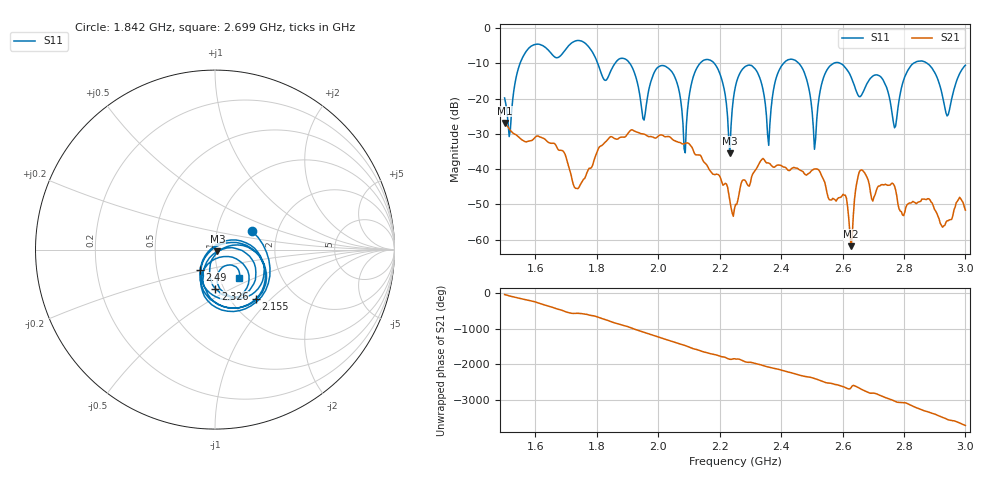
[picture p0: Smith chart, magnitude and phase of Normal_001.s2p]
# HZ S RI R 50
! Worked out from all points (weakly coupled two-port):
!   404 points, 1.5 GHz to 3 GHz, reference 50 ohm
!   highest |S21| = -26.90 dB at 1.5 GHz (marker M1); lowest = -61.9 dB at 2.628 GHz (marker M2)
!   lowest |S11| = -35.6 dB at 2.233 GHz (marker M3), VSWR 1.03, Z = 51.4 - j0.954 ohm
!   |S11| at or under -10 dB: 1.907 GHz to 2.136 GHz (228.9 MHz wide, 11.3 % of centre); 2.182 GHz to 2.408 GHz (225.8 MHz wide, 9.84 % of centre); 2.592 GHz to 2.831 GHz (238.8 MHz wide, 8.81 % of centre) (the widest 3 of 7)
!   S12 and S22 are empty: the file has one direction only
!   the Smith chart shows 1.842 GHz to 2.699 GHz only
!   S11 on the Smith chart (normalised r, x): 1.842 GHz: 1.47, +0.33; 2.155 GHz: 1.30, -0.82; 2.326 GHz: 0.91, -0.42; 2.49 GHz: 0.83, -0.19; 2.699 GHz: 1.23, -0.41
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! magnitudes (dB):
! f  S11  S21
! 1.5 GHz  -19.8  -26.9
! 1.586 GHz  -5.2  -32.0
! 1.753 GHz  -3.8  -43.4
! 1.842 GHz  -12.8  -31.0
! 1.954 GHz  -26.1  -30.1
! 2.002 GHz  -10.9  -30.5
! 2.088 GHz  -35.4  -32.7
! 2.155 GHz  -8.9  -38.5
! 2.233 GHz  -35.6  -48.9
! 2.252 GHz  -16.4  -50.0
! 2.326 GHz  -13.2  -38.8
! 2.36 GHz  -33.3  -38.3
! 2.412 GHz  -9.7  -39.4
! 2.49 GHz  -17.0  -41.2
! 2.501 GHz  -23.9  -40.3
! 2.628 GHz  -13.9  -61.9
! 2.658 GHz  -19.5  -40.4
! 2.699 GHz  -13.6  -49.1
! 2.751 GHz  -19.0  -44.6
! 2.862 GHz  -9.4  -48.5
! 2.94 GHz  -24.9  -54.7
! 3 GHz  -10.5  -51.6
